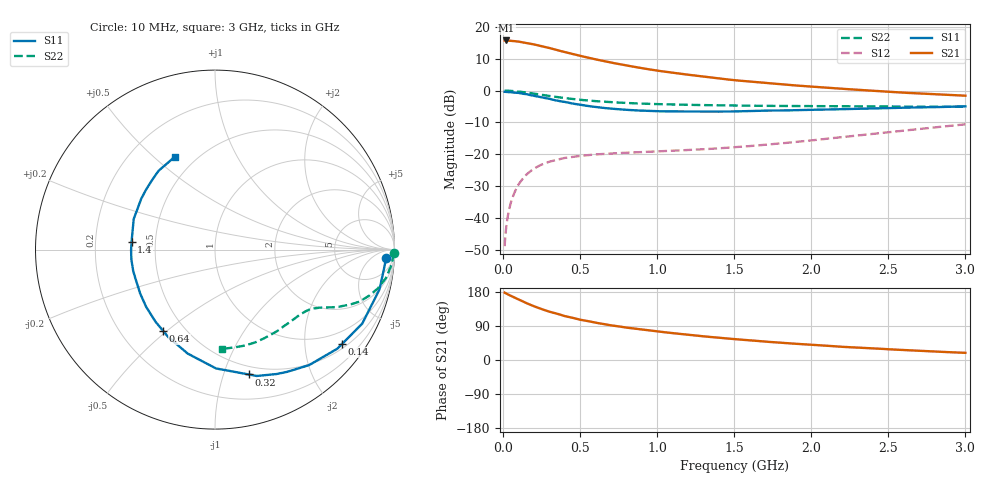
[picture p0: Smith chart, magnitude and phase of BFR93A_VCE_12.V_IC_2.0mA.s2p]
! Infineon Technologies  Discrete & RF Semiconductors
! BFR93A
! VCE =  12. V,  IC =  2.0 mA
! Common Emitter S-Parameters:  Nov 2015
# GHz  S  MA  R  50
!  f  S11  S21  S12  S22
! GHz  MAG  ANG  MAG  ANG  MAG  ANG  MAG  ANG
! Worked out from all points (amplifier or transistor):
!   180 points, 10 MHz to 3 GHz, reference 50 ohm
!   highest |S21| = 15.7 dB at 20 MHz (marker M1)
!   |S21| within 3 dB of that: start of sweep to 348.2 MHz
!   unconditionally stable (mu >= 1): 993 MHz to 2.54 GHz
!   at 160 MHz: K = 0.20, MSG = 20.4 dB, |S12| = -26.1 dB
!   at 1.22 GHz: K = 1.11, MAG = 9.7 dB, |S12| = -18.6 dB
!   at 3 GHz: K = 0.89, MSG = 4.5 dB, |S12| = -10.6 dB
!   S11 on the Smith chart (normalised r, x): 10 MHz: 21, -22; 140 MHz: 0.62, -2.92; 320 MHz: 0.42, -1.22; 640 MHz: 0.38, -0.49; 1.4 GHz: 0.36, +0.04; 3 GHz: 0.39, +0.59
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0.01  0.9549 -2.7  6.097 177.7  0.0036 88.8  0.9958 -1.1
0.02  0.9497 -5.4  6.105 175.6  0.007 86.2  0.9943 -2.0
0.035  0.9439 -9.5  6.07 172.5  0.0121 83.1  0.9902 -3.5
0.06  0.9341 -16.2  6.004 167.5  0.0204 79.6  0.982 -5.9
0.1  0.9182 -26.7  5.87 159.9  0.0334 74.9  0.9652 -9.5
0.14  0.8821 -36.5  5.628 152.3  0.0446 68.8  0.9374 -12.8
0.19  0.8367 -48.3  5.345 143.6  0.0569 63.3  0.9014 -16.1
0.22  0.8083 -55.0  5.156 138.9  0.0631 60.0  0.8792 -17.9
0.26  0.7738 -63.6  4.903 133.0  0.0703 56.2  0.8499 -20.1
0.3  0.7416 -71.7  4.65 127.6  0.0762 53.2  0.8205 -21.7
0.32  0.7205 -74.9  4.509 125.5  0.0784 51.9  0.8082 -22.3
0.4  0.6622 -89.5  4.015 115.9  0.0874 47.3  0.7601 -24.8
0.52  0.5873 -107.2  3.412 104.9  0.0952 42.9  0.7075 -27.1
0.64  0.5372 -122.5  2.945 95.8  0.1006 40.8  0.6705 -28.8
0.7  0.5206 -129.6  2.747 91.5  0.1027 40.3  0.6559 -29.7
0.8  0.499 -140.2  2.473 85.5  0.1054 40.2  0.6372 -31.1
1.02  0.472 -159.6  2.02 74.5  0.1109 41.8  0.6099 -34.4
1.4  0.4669 174.5  1.547 58.8  0.1236 48.3  0.5861 -41.4
1.52  0.4702 167.8  1.438 54.5  0.1297 50.7  0.5805 -44.1
2.02  0.4992 145.5  1.144 39.7  0.1667 58.8  0.5674 -56.2
2.52  0.5318 128.3  0.951 28.0  0.2242 61.7  0.5607 -70.2
3  0.5644 113.3  0.829 18.9  0.2945 59.8  0.5543 -86.0
